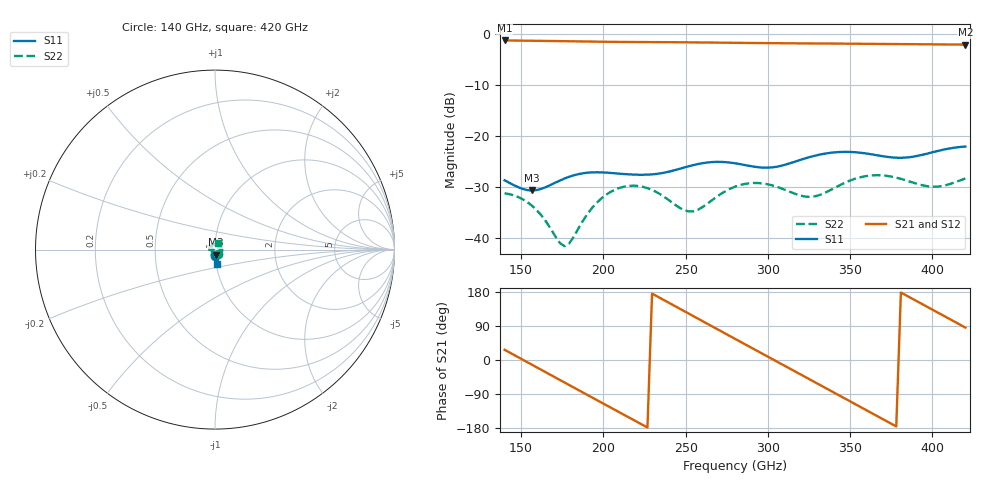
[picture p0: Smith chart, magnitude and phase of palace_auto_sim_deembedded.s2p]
! Created with skrf 1.11.0 (http://scikit-rf.org).
# GHz S DB R 50.0
!freq dBS11 angS11 dBS21 angS21 dBS12 angS12 dBS22 angS22
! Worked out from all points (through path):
!   101 points, 140 GHz to 420 GHz, reference 50 ohm
!   highest |S21| = -1.19 dB at 140 GHz (marker M1); lowest = -2.0 dB at 420 GHz (marker M2)
!   group delay of S21, straight-line fit = 6.56 ps
!   lowest |S11| = -30.7 dB at 156.8 GHz (marker M3), VSWR 1.06, Z = 50.4 - j2.89 ohm
!   |S11| at or under -10 dB: start of sweep to end of sweep
!   |S22| runs from -41.7 to -27.7 dB; largest |S21 - S12| = 1.4e-13
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140  -28.73 -89.7  -1.19 26.9  -1.19 26.9  -31.27 -58.9
156.8  -30.71 -79.8  -1.25 -12.9  -1.25 -12.9  -33.75 -101.9
176.4  -28.36 -69.6  -1.33 -59.3  -1.33 -59.3  -41.67 146.8
187.6  -27.32 -74.7  -1.38 -85.8  -1.38 -85.8  -36.66 61.4
198.8  -27.15 -80.2  -1.43 -112.2  -1.43 -112.2  -32.27 17.0
212.8  -27.48 -82.4  -1.48 -145.2  -1.48 -145.2  -29.94 -29.4
224  -27.62 -80.5  -1.50 -171.6  -1.50 -171.6  -29.99 -67.7
235.2  -27.32 -76.9  -1.52 162.0  -1.52 162.0  -31.58 -111.5
257.6  -25.50 -77.1  -1.58 108.9  -1.58 108.9  -34.48 117.2
268.8  -25.08 -82.3  -1.61 82.4  -1.61 82.4  -31.96 55.7
280  -25.35 -86.6  -1.65 55.9  -1.65 55.9  -29.97 8.8
291.2  -26.01 -86.1  -1.69 29.5  -1.69 29.5  -29.24 -33.5
302.4  -26.17 -80.2  -1.72 3.1  -1.72 3.1  -29.69 -77.1
313.6  -25.34 -74.9  -1.75 -23.3  -1.75 -23.3  -31.00 -127.5
327.6  -23.95 -75.8  -1.78 -56.3  -1.78 -56.3  -31.92 153.6
338.8  -23.27 -80.2  -1.80 -82.8  -1.80 -82.8  -30.50 90.5
350  -23.13 -85.2  -1.83 -109.3  -1.83 -109.3  -28.74 38.1
364  -23.65 -88.9  -1.86 -142.3  -1.86 -142.3  -27.72 -19.3
375.2  -24.20 -86.9  -1.89 -168.7  -1.89 -168.7  -27.98 -64.9
394.8  -23.62 -78.7  -1.94 145.0  -1.94 145.0  -29.75 -157.7
408.8  -22.54 -79.3  -1.98 112.0  -1.98 112.0  -29.61 125.1
420  -22.07 -82.8  -2.00 85.6  -2.00 85.6  -28.35 68.4
